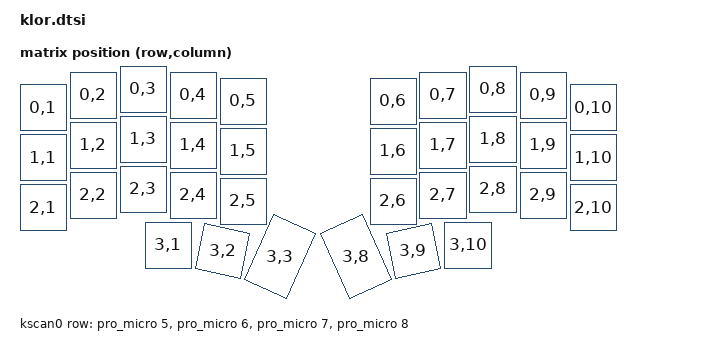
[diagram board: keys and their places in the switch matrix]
/*
 * KLOR 1.4 key matrix, taken from the Lefuneste83/KLOR shield with the OLED,
 * encoders and RGB removed. Only the 36 keys of a Saegewerk build are mapped.
 *
 * SPDX-License-Identifier: MIT
 */

#include <dt-bindings/zmk/matrix_transform.h>
#include <physical_layouts.dtsi>

/ {
	chosen {
		zmk,kscan = &kscan0;
		zmk,physical-layout = &klor_layout;
	};

	// The 36 keys that remain on a Saegewerk build: no outer pinky cells, no
	// encoder presses, and no innermost thumb. Left thumbs run outer -> inner,
	// right thumbs inner -> outer, like the Corne.
	default_transform: keymap_transform_0 {
		compatible = "zmk,matrix-transform";
		columns = <12>;
		rows = <4>;
		map = <
RC(0,1) RC(0,2) RC(0,3) RC(0,4) RC(0,5)   RC(0,6) RC(0,7) RC(0,8) RC(0,9) RC(0,10)
RC(1,1) RC(1,2) RC(1,3) RC(1,4) RC(1,5)   RC(1,6) RC(1,7) RC(1,8) RC(1,9) RC(1,10)
RC(2,1) RC(2,2) RC(2,3) RC(2,4) RC(2,5)   RC(2,6) RC(2,7) RC(2,8) RC(2,9) RC(2,10)
                RC(3,1) RC(3,2) RC(3,3)   RC(3,8) RC(3,9) RC(3,10)
		>;
	};

	// Drawn like a 36-key Corne so ZMK Studio has something to show; the
	// coordinates are not measured from the KLOR.
	klor_layout: klor_layout {
		compatible = "zmk,physical-layout";
		display-name = "KLOR Saegewerk";
		transform = <&default_transform>;
		kscan = <&kscan0>;
		keys //                     w   h    x    y     rot   rx   ry
			= <&key_physical_attrs 100 100    0   37       0    0    0>
			, <&key_physical_attrs 100 100  100   12       0    0    0>
			, <&key_physical_attrs 100 100  200    0       0    0    0>
			, <&key_physical_attrs 100 100  300   12       0    0    0>
			, <&key_physical_attrs 100 100  400   24       0    0    0>
			, <&key_physical_attrs 100 100  700   24       0    0    0>
			, <&key_physical_attrs 100 100  800   12       0    0    0>
			, <&key_physical_attrs 100 100  900    0       0    0    0>
			, <&key_physical_attrs 100 100 1000   12       0    0    0>
			, <&key_physical_attrs 100 100 1100   37       0    0    0>
			, <&key_physical_attrs 100 100    0  137       0    0    0>
			, <&key_physical_attrs 100 100  100  112       0    0    0>
			, <&key_physical_attrs 100 100  200  100       0    0    0>
			, <&key_physical_attrs 100 100  300  112       0    0    0>
			, <&key_physical_attrs 100 100  400  124       0    0    0>
			, <&key_physical_attrs 100 100  700  124       0    0    0>
			, <&key_physical_attrs 100 100  800  112       0    0    0>
			, <&key_physical_attrs 100 100  900  100       0    0    0>
			, <&key_physical_attrs 100 100 1000  112       0    0    0>
			, <&key_physical_attrs 100 100 1100  137       0    0    0>
			, <&key_physical_attrs 100 100    0  237       0    0    0>
			, <&key_physical_attrs 100 100  100  212       0    0    0>
			, <&key_physical_attrs 100 100  200  200       0    0    0>
			, <&key_physical_attrs 100 100  300  212       0    0    0>
			, <&key_physical_attrs 100 100  400  224       0    0    0>
			, <&key_physical_attrs 100 100  700  224       0    0    0>
			, <&key_physical_attrs 100 100  800  212       0    0    0>
			, <&key_physical_attrs 100 100  900  200       0    0    0>
			, <&key_physical_attrs 100 100 1000  212       0    0    0>
			, <&key_physical_attrs 100 100 1100  237       0    0    0>
			, <&key_physical_attrs 100 100  250  312       0    0    0>
			, <&key_physical_attrs 100 100  350  312    1200  350  412>
			, <&key_physical_attrs 100 150  448  283    2400  448  433>
			, <&key_physical_attrs 100 150  652  283 (-2400)  752  433>
			, <&key_physical_attrs 100 100  750  312 (-1200)  850  412>
			, <&key_physical_attrs 100 100  850  312       0    0    0>
			;
	};

	kscan0: kscan {
		compatible = "zmk,kscan-gpio-matrix";
		diode-direction = "col2row";
		row-gpios
			= <&pro_micro 5 (GPIO_ACTIVE_HIGH | GPIO_PULL_DOWN)>
			, <&pro_micro 6 (GPIO_ACTIVE_HIGH | GPIO_PULL_DOWN)>
			, <&pro_micro 7 (GPIO_ACTIVE_HIGH | GPIO_PULL_DOWN)>
			, <&pro_micro 8 (GPIO_ACTIVE_HIGH | GPIO_PULL_DOWN)>
			;
	};
};
